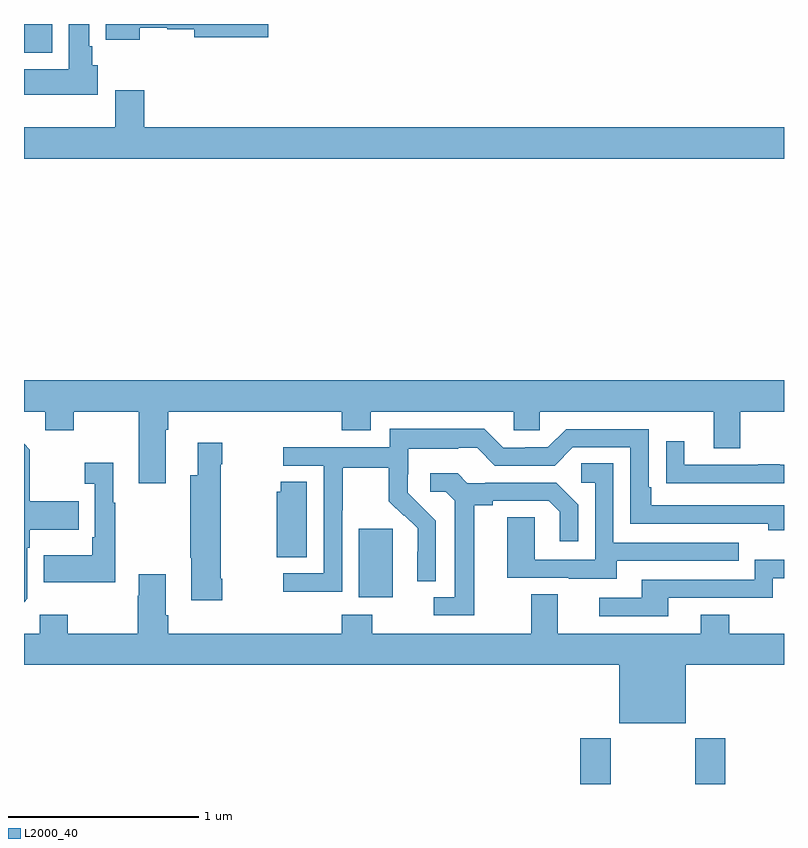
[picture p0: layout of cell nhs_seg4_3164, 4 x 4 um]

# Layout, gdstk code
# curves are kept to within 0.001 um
import gdstk
lib = gdstk.Library(unit=1e-6, precision=1e-09)
def R(c, l, rs):  # rectangles x0, y0, x1, y1
    for r in rs: c.add(gdstk.rectangle(r[:2], r[2:], *l))
def P(c, l, *ps):  # polygons
    for p in ps: c.add(gdstk.Polygon(p, *l))
L2000_40 = (2000, 40)

nhs_seg4_3164 = lib.new_cell('nhs_seg4_3164')
R(nhs_seg4_3164, L2000_40, [(281.927,754.9,282.087,755.14), (282.532,754.9,282.692,755.14), (280.763,755.882,280.942,756.243), (279,758.75,279.148,758.9)])
P(nhs_seg4_3164, L2000_40, [(279.388,758.682),(279.358,758.682),(279.358,758.782),(279.343,758.782),(279.343,758.9),(279.236,758.9),(279.236,758.662),(279,758.662),(279,758.528),(279.388,758.528)],
  [(279.61,758.88),(279.753,758.88),(279.753,758.872),(279.896,758.872),(279.896,758.83),(280.285,758.83),(280.285,758.9),(279.431,758.9),(279.431,758.816),(279.61,758.816)],
  [(283,758.356),(279.632,758.356),(279.632,758.551),(279.479,758.551),(279.479,758.356),(279,758.356),(279,758.192),(283,758.192)],
  [(279.745,756.764),(279.758,756.764),(279.758,756.86),(280.673,756.86),(280.673,756.761),(280.825,756.761),(280.825,756.86),(281.577,756.86),(281.577,756.762),(281.715,756.762),(281.715,756.86),(282.629,756.86),(282.629,756.666),(282.769,756.666),(282.769,756.86),(283,756.86),(283,757.024),(279,757.024),(279,756.86),(279.113,756.86),(279.113,756.761),(279.261,756.761),(279.261,756.86),(279.605,756.86),(279.605,756.483),(279.745,756.483)],
  [(280.674,756.34),(280.677,756.34),(280.677,756.564),(280.921,756.564),(280.921,756.389),(280.998,756.312),(281.001,756.315),(281.072,756.245),(281.072,756.122),(281.07,756.122),(281.07,755.968),(281.166,755.968),(281.166,756.286),(281.02,756.434),(281.02,756.531),(281.022,756.531),(281.022,756.665),(281.285,756.665),(281.285,756.669),(281.385,756.669),(281.478,756.576),(281.793,756.576),(281.889,756.672),(282.192,756.672),(282.192,756.27),(282.917,756.27),(282.917,756.236),(283,756.236),(283,756.366),(282.301,756.366),(282.301,756.463),(282.288,756.463),(282.288,756.768),(281.853,756.768),(281.757,756.672),(281.639,756.672),(281.639,756.669),(281.523,756.669),(281.423,756.769),(280.926,756.769),(280.926,756.672),(280.365,756.672),(280.365,756.576),(280.578,756.576),(280.578,756.009),(280.365,756.009),(280.365,755.911),(280.674,755.911)],
  [(283,756.579),(282.977,756.579),(282.977,756.584),(282.865,756.584),(282.865,756.579),(282.475,756.579),(282.475,756.703),(282.379,756.703),(282.379,756.484),(282.481,756.484),(282.481,756.483),(283,756.483)],
  [(280.044,755.98),(280.036,755.98),(280.036,756.584),(280.044,756.584),(280.044,756.697),(279.914,756.697),(279.914,756.526),(279.874,756.526),(279.874,756.091),(279.881,756.091),(279.881,755.868),(280.044,755.868)],
  [(279.018,755.874),(279.018,756.143),(279.031,756.143),(279.031,756.239),(279.287,756.239),(279.287,756.387),(279.031,756.387),(279.031,756.659),(279,756.69),(279,755.856)],
  [(279.481,756.379),(279.469,756.379),(279.469,756.592),(279.321,756.592),(279.321,756.479),(279.372,756.479),(279.372,756.199),(279.36,756.199),(279.36,756.103),(279.103,756.103),(279.103,755.963),(279.481,755.963)],
  [(282.121,756.075),(282.761,756.075),(282.761,756.171),(282.102,756.171),(282.102,756.587),(281.934,756.587),(281.934,756.486),(282.006,756.486),(282.006,756.081),(281.688,756.081),(281.688,756.305),(281.543,756.305),(281.543,755.985),(281.867,755.985),(281.867,755.981),(282.121,755.981)],
  [(281.371,756.368),(281.467,756.368),(281.467,756.39),(281.762,756.39),(281.819,756.333),(281.819,756.177),(281.916,756.177),(281.916,756.37),(281.8,756.486),(281.428,756.486),(281.428,756.483),(281.334,756.483),(281.282,756.535),(281.139,756.535),(281.139,756.438),(281.22,756.438),(281.267,756.391),(281.267,755.883),(281.157,755.883),(281.157,755.787),(281.371,755.787)],
  [(280.489,756.491),(280.351,756.491),(280.351,756.438),(280.331,756.438),(280.331,756.094),(280.489,756.094)],
  [(282.391,755.88),(282.942,755.88),(282.942,755.982),(283,755.982),(283,756.079),(282.846,756.079),(282.846,755.976),(282.251,755.976),(282.251,755.88),(282.027,755.88),(282.027,755.784),(282.391,755.784)],
  [(282.484,755.528),(283,755.528),(283,755.692),(282.711,755.692),(282.711,755.791),(282.563,755.791),(282.563,755.692),(281.809,755.692),(281.809,755.9),(281.669,755.9),(281.669,755.692),(280.833,755.692),(280.833,755.791),(280.673,755.791),(280.673,755.692),(279.758,755.692),(279.758,755.788),(279.745,755.788),(279.745,756.004),(279.605,756.004),(279.605,755.891),(279.598,755.891),(279.598,755.692),(279.231,755.692),(279.231,755.791),(279.084,755.791),(279.084,755.692),(279,755.692),(279,755.528),(282.134,755.528),(282.134,755.219),(282.484,755.219)])

lib.write_gds('nhs_seg4_3164.gds')
